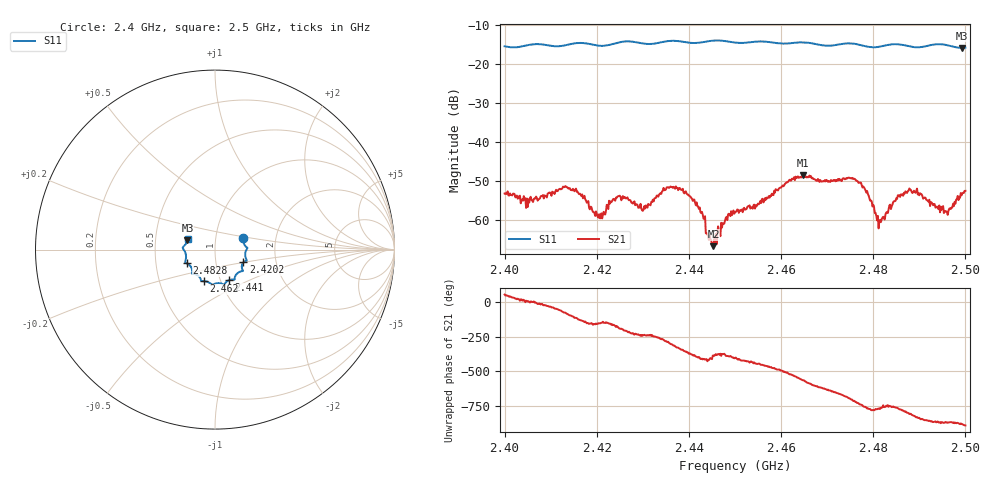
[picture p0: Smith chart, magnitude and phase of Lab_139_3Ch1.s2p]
# Hz S RI R 50
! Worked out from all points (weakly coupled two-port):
!   601 points, 2.4 GHz to 2.5 GHz, reference 50 ohm
!   highest |S21| = -48.46 dB at 2.4648 GHz (marker M1); lowest = -66.6 dB at 2.4453 GHz (marker M2)
!   lowest |S11| = -15.8 dB at 2.4993 GHz (marker M3), VSWR 1.39, Z = 36.5 + j3.85 ohm
!   |S11| at or under -10 dB: start of sweep to end of sweep
!   S12 and S22 are empty: the file has one direction only
!   S11 on the Smith chart (normalised r, x): 2.4 GHz: 1.36, +0.17; 2.4202 GHz: 1.36, -0.20; 2.441 GHz: 1.10, -0.39; 2.462 GHz: 0.84, -0.30; 2.4828 GHz: 0.72, -0.11; 2.5 GHz: 0.73, +0.09
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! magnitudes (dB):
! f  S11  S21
! 2.4 GHz  -15.4  -53.1
! 2.4132 GHz  -15.1  -51.2
! 2.4167 GHz  -14.5  -53.8
! 2.4202 GHz  -15.2  -59.0
! 2.4247 GHz  -14.4  -53.8
! 2.4302 GHz  -14.7  -57.2
! 2.4333 GHz  -14.5  -54.0
! 2.4367 GHz  -14.0  -51.4
! 2.441 GHz  -14.6  -54.7
! 2.4453 GHz  -13.9  -66.6
! 2.45 GHz  -14.4  -57.9
! 2.462 GHz  -14.6  -49.8
! 2.4648 GHz  -14.4  -48.5
! 2.4667 GHz  -14.6  -49.2
! 2.476 GHz  -14.8  -49.4
! 2.4812 GHz  -15.5  -62.1
! 2.4828 GHz  -15.1  -58.0
! 2.4833 GHz  -15.0  -57.1
! 2.488 GHz  -15.5  -52.1
! 2.4958 GHz  -15.1  -57.7
! 2.4993 GHz  -15.8  -53.1
! 2.5 GHz  -15.7  -52.5
